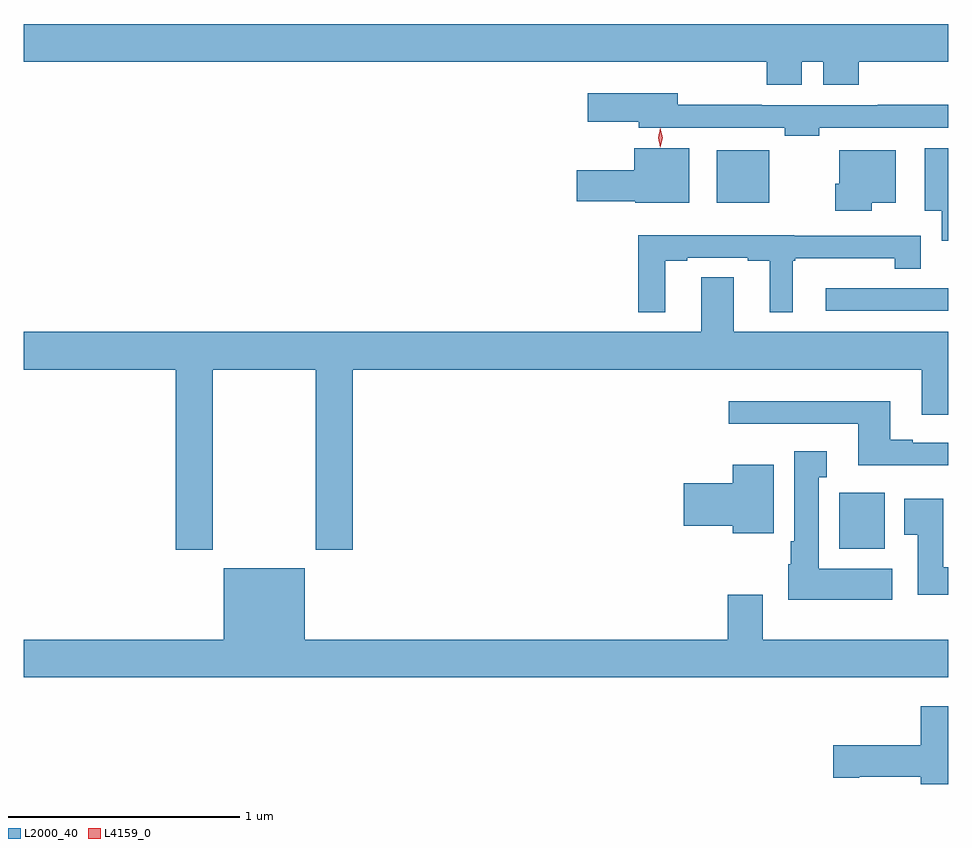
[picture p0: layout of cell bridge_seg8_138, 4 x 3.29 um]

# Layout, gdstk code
import gdstk
lib = gdstk.Library(unit=1e-6, precision=1e-09)
def R(c, l, rs):  # rectangles x0, y0, x1, y1
    for r in rs: c.add(gdstk.rectangle(r[:2], r[2:], *l))
def P(c, l, *ps):  # polygons
    for p in ps: c.add(gdstk.Polygon(p, *l))
L2000_40 = (2000, 40)
L4159_0 = (4159, 0)

bridge_seg8_138 = lib.new_cell('bridge_seg8_138')
R(bridge_seg8_138, L2000_40, [(451.52,1150.358,451.717,1150.6), (451.461,1151.388,451.991,1151.484), (450.989,1151.855,451.216,1152.082)])
P(bridge_seg8_138, L2000_40, [(451.357,1152.464),(451.451,1152.464),(451.451,1152.365),(451.604,1152.365),(451.604,1152.464),(451.991,1152.464),(451.991,1152.628),(447.991,1152.628),(447.991,1152.464),(451.205,1152.464),(451.205,1152.365),(451.357,1152.365)],
  [(451.434,1152.18),(451.991,1152.18),(451.991,1152.278),(451.687,1152.278),(451.687,1152.276),(451.184,1152.276),(451.184,1152.278),(450.82,1152.278),(450.82,1152.328),(450.432,1152.328),(450.432,1152.206),(450.651,1152.206),(450.651,1152.18),(451.284,1152.18),(451.284,1152.145),(451.434,1152.145)],
  [(450.871,1152.091),(450.632,1152.091),(450.632,1151.995),(450.384,1151.995),(450.384,1151.861),(450.636,1151.861),(450.636,1151.855),(450.871,1151.855)],
  [(451.991,1152.091),(451.889,1152.091),(451.889,1151.819),(451.964,1151.819),(451.964,1151.689),(451.991,1151.689)],
  [(451.66,1151.855),(451.765,1151.855),(451.765,1152.082),(451.52,1152.082),(451.52,1151.937),(451.502,1151.937),(451.502,1151.819),(451.66,1151.819)],
  [(450.766,1151.604),(450.862,1151.604),(450.862,1151.616),(451.124,1151.616),(451.124,1151.604),(451.22,1151.604),(451.22,1151.381),(451.318,1151.381),(451.318,1151.604),(451.33,1151.604),(451.33,1151.615),(451.76,1151.615),(451.76,1151.569),(451.873,1151.569),(451.873,1151.712),(451.324,1151.712),(451.324,1151.713),(450.649,1151.713),(450.649,1151.381),(450.766,1151.381)],
  [(447.991,1151.132),(448.649,1151.132),(448.649,1150.353),(448.809,1150.353),(448.809,1151.132),(449.254,1151.132),(449.254,1150.353),(449.414,1150.353),(449.414,1151.132),(451.877,1151.132),(451.877,1150.938),(451.991,1150.938),(451.991,1151.296),(451.063,1151.296),(451.063,1151.531),(450.923,1151.531),(450.923,1151.296),(447.991,1151.296)],
  [(451.991,1150.815),(451.837,1150.815),(451.837,1150.828),(451.741,1150.828),(451.741,1150.996),(451.041,1150.996),(451.041,1150.899),(451.601,1150.899),(451.601,1150.718),(451.991,1150.718)],
  [(451.75,1150.27),(451.432,1150.27),(451.432,1150.667),(451.465,1150.667),(451.465,1150.78),(451.325,1150.78),(451.325,1150.39),(451.31,1150.39),(451.31,1150.29),(451.298,1150.29),(451.298,1150.136),(451.75,1150.136)],
  [(451.237,1150.72),(451.058,1150.72),(451.058,1150.64),(450.846,1150.64),(450.846,1150.457),(451.058,1150.457),(451.058,1150.424),(451.237,1150.424)],
  [(451.991,1150.276),(451.969,1150.276),(451.969,1150.573),(451.802,1150.573),(451.802,1150.417),(451.859,1150.417),(451.859,1150.158),(451.991,1150.158)],
  [(451.991,1149.964),(451.189,1149.964),(451.189,1150.159),(451.037,1150.159),(451.037,1149.964),(449.206,1149.964),(449.206,1150.273),(448.856,1150.273),(448.856,1149.964),(447.991,1149.964),(447.991,1149.8),(451.991,1149.8)],
  [(451.991,1149.676),(451.872,1149.676),(451.872,1149.507),(451.494,1149.507),(451.494,1149.365),(451.606,1149.365),(451.606,1149.37),(451.872,1149.37),(451.872,1149.339),(451.991,1149.339)])
P(bridge_seg8_138, L4159_0, [(450.746,1152.095),(450.746,1152.095),(450.736,1152.136),(450.746,1152.177),(450.746,1152.178),(450.746,1152.177),(450.756,1152.136),(450.746,1152.095)])

lib.write_gds('bridge_seg8_138.gds')
